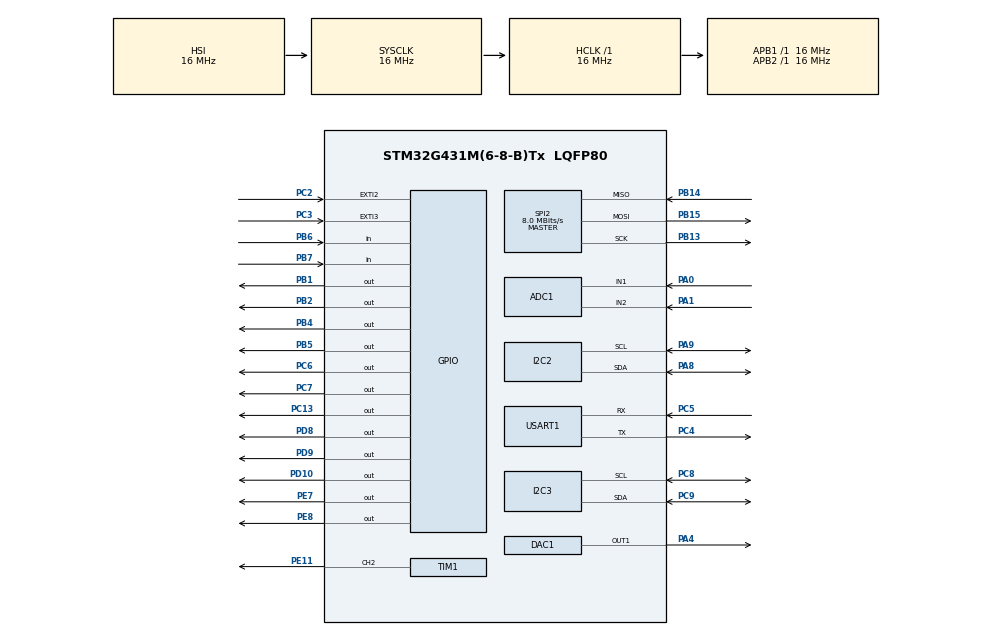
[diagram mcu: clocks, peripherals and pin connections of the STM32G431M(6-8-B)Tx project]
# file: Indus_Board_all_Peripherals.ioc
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ADC1.Channel-0\#ChannelRegularConversion=ADC_CHANNEL_1
ADC1.NbrOfConversionFlag=1
ADC1.OffsetNumber-0\#ChannelRegularConversion=ADC_OFFSET_NONE
ADC1.Rank-0\#ChannelRegularConversion=1
ADC1.SamplingTime-0\#ChannelRegularConversion=ADC_SAMPLETIME_2CYCLES_5
ADC1.master=1
Mcu.Family=STM32G4
Mcu.Name=STM32G431M(6-8-B)Tx
Mcu.Package=LQFP80
NVIC.EXTI2_IRQn=true\:0\:0\:false\:false\:true\:true\:true\:true
NVIC.EXTI3_IRQn=true\:0\:0\:false\:false\:true\:true\:true\:true
NVIC.PriorityGroup=NVIC_PRIORITYGROUP_4
NVIC.USART1_IRQn=true\:0\:0\:false\:false\:true\:true\:true\:true
PA0.Mode=IN1-Single-Ended
PA0.Signal=ADC1_IN1
PA1.Mode=IN2-Single-Ended
PA1.Signal=ADC1_IN2
PA13.Mode=JTAG_4_pins
PA13.Signal=SYS_JTMS-SWDIO
PA14.Mode=JTAG_4_pins
PA14.Signal=SYS_JTCK-SWCLK
PA15.Mode=JTAG_4_pins
PA15.Signal=SYS_JTDI
PA4.Signal=COMP_DAC11_group
PA8.Mode=I2C
PA8.Signal=I2C2_SDA
PA9.Mode=I2C
PA9.Signal=I2C2_SCL
PB1.Signal=GPIO_Output
PB13.Mode=Full_Duplex_Master
PB13.Signal=SPI2_SCK
PB14.Mode=Full_Duplex_Master
PB14.Signal=SPI2_MISO
PB15.Mode=Full_Duplex_Master
PB15.Signal=SPI2_MOSI
PB2.Signal=GPIO_Output
PB3.Mode=JTAG_4_pins
PB3.Signal=SYS_JTDO-SWO
PB4.Signal=GPIO_Output
PB5.Signal=GPIO_Output
PB6.Signal=GPIO_Input
PB7.Signal=GPIO_Input
PC13.Signal=GPIO_Output
PC2.Signal=GPXTI2
PC3.Signal=GPXTI3
PC4.Mode=Asynchronous
PC4.Signal=USART1_TX
PC5.Mode=Asynchronous
PC5.Signal=USART1_RX
PC6.Signal=GPIO_Output
PC7.Signal=GPIO_Output
PC8.Mode=I2C
PC8.Signal=I2C3_SCL
PC9.Mode=I2C
PC9.Signal=I2C3_SDA
PD10.Signal=GPIO_Output
PD8.Signal=GPIO_Output
PD9.Signal=GPIO_Output
PE11.Signal=S_TIM1_CH2
PE7.Signal=GPIO_Output
PE8.Signal=GPIO_Output
ProjectManager.HeapSize=0x200
ProjectManager.StackSize=0x400
ProjectManager.TargetToolchain=STM32CubeIDE
RCC.AHBFreq_Value=16000000
RCC.APB1Freq_Value=16000000
RCC.APB1TimFreq_Value=16000000
RCC.APB2Freq_Value=16000000
RCC.APB2TimFreq_Value=16000000
RCC.CortexFreq_Value=16000000
RCC.EXTERNAL_CLOCK_VALUE=12288000
RCC.HCLKFreq_Value=16000000
RCC.HSE_VALUE=8000000
RCC.HSI48_VALUE=48000000
RCC.HSI_VALUE=16000000
RCC.LSE_VALUE=32768
RCC.SYSCLKFreq_VALUE=16000000
RCC.USBFreq_Value=64000000
RCC.VCOOutputFreq_Value=128000000
SH.COMP_DAC11_group.0=DAC1_OUT1,DAC_OUT1
SH.S_TIM1_CH2.0=TIM1_CH2,PWM Generation2 CH2
SPI2.CalculateBaudRate=8.0 MBits/s
SPI2.DataSize=SPI_DATASIZE_8BIT
SPI2.Direction=SPI_DIRECTION_2LINES
SPI2.Mode=SPI_MODE_MASTER
SPI2.VirtualType=VM_MASTER
TIM1.Channel-PWM\ Generation2\ CH2=TIM_CHANNEL_2
TIM16.Channel=TIM_CHANNEL_1
TIM16.OCMode_1=TIM_OCMODE_TOGGLE
TIM16.PeriodNoDither=999
TIM16.Prescaler=37000
USART1.VirtualMode-Asynchronous=VM_ASYNC
VP_SYS_VS_DBSignals.Mode=DisableDeadBatterySignals
VP_TIM16_VS_ClockSourceINT.Mode=Enable_Timer
VP_TIM16_VS_no_output1.Mode=Output Compare1 No Output
VP_TIM1_VS_ClockSourceINT.Mode=Internal
board=custom

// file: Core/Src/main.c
/* USER CODE BEGIN Header */
/**
  ******************************************************************************
  * @file           : main.c
  * @brief          : Main program body
  ******************************************************************************
  * @attention
  *
  * Copyright (c) 2023 STMicroelectronics.
  * All rights reserved.
  *
  * This software is licensed under terms that can be found in the LICENSE file
  * in the root directory of this software component.
  * If no LICENSE file comes with this software, it is provided AS-IS.
  *
  ******************************************************************************
  */
/* USER CODE END Header */
#include "main.h"
#include <stdio.h>
#include <string.h>

#define I2C_ADDR 0x27 // I2C address of the PCF8574
#define RS_BIT 0 // Register select bit
#define EN_BIT 2 // Enable bit
#define BL_BIT 3 // Backlight bit
#define D4_BIT 4 // Data 4 bit
#define D5_BIT 5 // Data 5 bit
#define D6_BIT 6 // Data 6 bit
#define D7_BIT 7 // Data 7 bit

#define LCD_ROWS 2 // Number of rows on the LCD
#define LCD_COLS 16 // Number of columns on the LCD

uint8_t backlight_state = 1;

ADC_HandleTypeDef hadc1;

DAC_HandleTypeDef hdac1;

I2C_HandleTypeDef hi2c2;
I2C_HandleTypeDef hi2c3;

SPI_HandleTypeDef hspi2;

TIM_HandleTypeDef htim1;
TIM_HandleTypeDef htim16;

UART_HandleTypeDef huart1;

void SystemClock_Config(void);
static void MX_GPIO_Init(void);
static void MX_ADC1_Init(void);
static void MX_DAC1_Init(void);
static void MX_I2C2_Init(void);
static void MX_SPI2_Init(void);
static void MX_TIM1_Init(void);
static void MX_TIM16_Init(void);
static void MX_USART1_UART_Init(void);
static void MX_I2C3_Init(void);

/* USER CODE BEGIN 0 */

void lcd_write_nibble(uint8_t nibble, uint8_t rs);
void lcd_send_cmd(uint8_t cmd);
void lcd_send_data(uint8_t data);
void lcd_init();
void lcd_write_string(char *str);
void lcd_set_cursor(uint8_t row, uint8_t column);
void lcd_clear(void);
void lcd_backlight(uint8_t state);

/* USER CODE END 0 */
uint16_t temp = 0;
uint16_t humd= 0;
uint16_t TTemp = 27;
uint16_t THumd = 50;

uint16_t B1 = 0;
uint16_t B2 = 0;

void getinput(){
	char temp1[10];
	char humd1[10];

	if(HAL_GPIO_ReadPin(GPIOB, GPIO_PIN_6) != GPIO_PIN_SET){
		HAL_ADC_Start(&hadc1);
		HAL_ADC_PollForConversion(&hadc1,1000);
		TTemp = (HAL_ADC_GetValue(&hadc1) / 160) + 16;
		sprintf(temp1, "%d", TTemp);

		lcd_clear();
		lcd_set_cursor(0, 0);
		lcd_write_string("SET Temperature");
		lcd_set_cursor(1, 0);
		lcd_write_string(temp1);

	}

	if(HAL_GPIO_ReadPin(GPIOB, GPIO_PIN_7) != GPIO_PIN_SET){
			HAL_ADC_Start(&hadc1);
			HAL_ADC_PollForConversion(&hadc1,1000);
			THumd = HAL_ADC_GetValue(&hadc1) / 40;
			sprintf(humd1, "%d", THumd);

			lcd_clear();
			lcd_set_cursor(0, 0);
			lcd_write_string("SET Humidity");
			lcd_set_cursor(1, 0);
			lcd_write_string(humd1);
		}

	GetDeviceIDSht21();
	GetSlaveAcknowledgment();
	GetTempratureSht21();
	GetHumidyShtc3();
	temp = Read_Temprature() / 1000;
	humd = Read_Humidity() / 1000;

	sprintf(temp1, "%d", temp);
	sprintf(humd1, "%d", humd);

	lcd_clear();
	lcd_set_cursor(0, 0);
	lcd_write_string("Temperature ");
	lcd_write_string(temp1);
	lcd_set_cursor(1, 0);
	lcd_write_string("Humidity ");
	lcd_write_string(humd1);

}

void accuate(){
	if(TTemp < temp){
		HAL_GPIO_WritePin(GPIOE, GPIO_PIN_7, 0);
		HAL_GPIO_WritePin(GPIOE, GPIO_PIN_8, 1);
		HAL_GPIO_WritePin(GPIOB, GPIO_PIN_4, 0);
	}
	if(TTemp > temp){
		HAL_GPIO_WritePin(GPIOE, GPIO_PIN_7, 1);
		HAL_GPIO_WritePin(GPIOE, GPIO_PIN_8, 0);
		HAL_GPIO_WritePin(GPIOB, GPIO_PIN_4, 0);
	}
	if(TTemp == temp)
	{
		HAL_GPIO_WritePin(GPIOE, GPIO_PIN_7, 1);
		HAL_GPIO_WritePin(GPIOE, GPIO_PIN_8, 1);
		HAL_GPIO_WritePin(GPIOB, GPIO_PIN_4, 1);

	}

	if(THumd < humd){
		HAL_GPIO_WritePin(GPIOB, GPIO_PIN_5, 1);
	}
	if(THumd > humd ){
		HAL_GPIO_WritePin(GPIOB, GPIO_PIN_5, 0);
	}
}
int main(void)
{

  /* MCU Configuration--------------------------------------------------------*/

  /* Reset of all peripherals, Initializes the Flash interface and the Systick. */
  HAL_Init();

  /* Configure the system clock */
  SystemClock_Config();

  /* Initialize all configured peripherals */
  MX_GPIO_Init();
  MX_ADC1_Init();
  MX_DAC1_Init();
  MX_I2C2_Init();
  MX_SPI2_Init();
  MX_TIM1_Init();
  MX_TIM16_Init();
  MX_USART1_UART_Init();
  MX_I2C3_Init();

  /* Infinite loop */
  /* USER CODE BEGIN WHILE */
  HAL_GPIO_WritePin(GPIOE, GPIO_PIN_7, 1);
  HAL_GPIO_WritePin(GPIOE, GPIO_PIN_8, 1);
  HAL_GPIO_WritePin(GPIOB, GPIO_PIN_4, 1);
  HAL_GPIO_WritePin(GPIOB, GPIO_PIN_5, 1);

  lcd_init();
  lcd_backlight(1); // Turn on backlight
  uint16_t Data = 10;
  char *text = "EmbeddedThere";
  char int_to_str[10];
  sprintf(int_to_str, "%d", Data);

  lcd_clear();
  lcd_set_cursor(0, 0);
  lcd_write_string(text);
  lcd_write_string(int_to_str);

  while (1){
    /* USER CODE END WHILE */
	  getinput();
	  accuate();
  }
}

void lcd_write_nibble(uint8_t nibble, uint8_t rs) {
  uint8_t data = nibble << D4_BIT;
  data |= rs << RS_BIT;
  data |= backlight_state << BL_BIT; // Include backlight state in data
  data |= 1 << EN_BIT;
  HAL_I2C_Master_Transmit(&hi2c3, I2C_ADDR << 1, &data, 1, 100);
  HAL_Delay(1);
  data &= ~(1 << EN_BIT);
  HAL_I2C_Master_Transmit(&hi2c3, I2C_ADDR << 1, &data, 1, 100);
}

void lcd_send_cmd(uint8_t cmd) {
  uint8_t upper_nibble = cmd >> 4;
  uint8_t lower_nibble = cmd & 0x0F;
  lcd_write_nibble(upper_nibble, 0);
  lcd_write_nibble(lower_nibble, 0);
  if (cmd == 0x01 || cmd == 0x02) {
    HAL_Delay(2);
  }
}

void lcd_send_data(uint8_t data) {
  uint8_t upper_nibble = data >> 4;
  uint8_t lower_nibble = data & 0x0F;
  lcd_write_nibble(upper_nibble, 1);
  lcd_write_nibble(lower_nibble, 1);
}

void lcd_init() {
  HAL_Delay(50);
  lcd_write_nibble(0x03, 0);
  HAL_Delay(5);
  lcd_write_nibble(0x03, 0);
  HAL_Delay(1);
  lcd_write_nibble(0x03, 0);
  HAL_Delay(1);
  lcd_write_nibble(0x02, 0);
  lcd_send_cmd(0x28);
  lcd_send_cmd(0x0C);
  lcd_send_cmd(0x06);
  lcd_send_cmd(0x01);
  HAL_Delay(2);
}

void lcd_write_string(char *str) {
  while (*str) {
    lcd_send_data(*str++);
  }
}

void lcd_set_cursor(uint8_t row, uint8_t column) {
    uint8_t address;
    switch (row) {
        case 0:
            address = 0x00;
            break;
        case 1:
            address = 0x40;
            break;
        default:
            address = 0x00;
    }
    address += column;
    lcd_send_cmd(0x80 | address);
}

void lcd_clear(void) {
	lcd_send_cmd(0x01);
    HAL_Delay(2);
}

void lcd_backlight(uint8_t state) {
  if (state) {
    backlight_state = 1;
  } else {
    backlight_state = 0;
  }
}

void SystemClock_Config(void)
{
  RCC_OscInitTypeDef RCC_OscInitStruct = {0};
  RCC_ClkInitTypeDef RCC_ClkInitStruct = {0};

  /** Configure the main internal regulator output voltage
  */
  HAL_PWREx_ControlVoltageScaling(PWR_REGULATOR_VOLTAGE_SCALE1);

  /** Initializes the RCC Oscillators according to the specified parameters
  * in the RCC_OscInitTypeDef structure.
  */
  RCC_OscInitStruct.OscillatorType = RCC_OSCILLATORTYPE_HSI;
  RCC_OscInitStruct.HSIState = RCC_HSI_ON;
  RCC_OscInitStruct.HSICalibrationValue = RCC_HSICALIBRATION_DEFAULT;
  RCC_OscInitStruct.PLL.PLLState = RCC_PLL_NONE;
  if (HAL_RCC_OscConfig(&RCC_OscInitStruct) != HAL_OK)
  {
    Error_Handler();
  }

  /** Initializes the CPU, AHB and APB buses clocks
  */
  RCC_ClkInitStruct.ClockType = RCC_CLOCKTYPE_HCLK|RCC_CLOCKTYPE_SYSCLK
                              |RCC_CLOCKTYPE_PCLK1|RCC_CLOCKTYPE_PCLK2;
  RCC_ClkInitStruct.SYSCLKSource = RCC_SYSCLKSOURCE_HSI;
  RCC_ClkInitStruct.AHBCLKDivider = RCC_SYSCLK_DIV1;
  RCC_ClkInitStruct.APB1CLKDivider = RCC_HCLK_DIV1;
  RCC_ClkInitStruct.APB2CLKDivider = RCC_HCLK_DIV1;

  if (HAL_RCC_ClockConfig(&RCC_ClkInitStruct, FLASH_LATENCY_0) != HAL_OK)
  {
    Error_Handler();
  }
}

static void MX_ADC1_Init(void)
{

  ADC_MultiModeTypeDef multimode = {0};
  ADC_ChannelConfTypeDef sConfig = {0};

  /** Common config
  */
  hadc1.Instance = ADC1;
  hadc1.Init.ClockPrescaler = ADC_CLOCK_SYNC_PCLK_DIV2;
  hadc1.Init.Resolution = ADC_RESOLUTION_12B;
  hadc1.Init.DataAlign = ADC_DATAALIGN_RIGHT;
  hadc1.Init.GainCompensation = 0;
  hadc1.Init.ScanConvMode = ADC_SCAN_DISABLE;
  hadc1.Init.EOCSelection = ADC_EOC_SINGLE_CONV;
  hadc1.Init.LowPowerAutoWait = DISABLE;
  hadc1.Init.ContinuousConvMode = DISABLE;
  hadc1.Init.NbrOfConversion = 1;
  hadc1.Init.DiscontinuousConvMode = DISABLE;
  hadc1.Init.ExternalTrigConv = ADC_SOFTWARE_START;
  hadc1.Init.ExternalTrigConvEdge = ADC_EXTERNALTRIGCONVEDGE_NONE;
  hadc1.Init.DMAContinuousRequests = DISABLE;
  hadc1.Init.Overrun = ADC_OVR_DATA_PRESERVED;
  hadc1.Init.OversamplingMode = DISABLE;
  if (HAL_ADC_Init(&hadc1) != HAL_OK)
  {
    Error_Handler();
  }

  /** Configure the ADC multi-mode
  */
  multimode.Mode = ADC_MODE_INDEPENDENT;
  if (HAL_ADCEx_MultiModeConfigChannel(&hadc1, &multimode) != HAL_OK)
  {
    Error_Handler();
  }

  /** Configure Regular Channel
  */
  sConfig.Channel = ADC_CHANNEL_1;
  sConfig.Rank = ADC_REGULAR_RANK_1;
  sConfig.SamplingTime = ADC_SAMPLETIME_2CYCLES_5;
  sConfig.SingleDiff = ADC_SINGLE_ENDED;
  sConfig.OffsetNumber = ADC_OFFSET_NONE;
  sConfig.Offset = 0;
  if (HAL_ADC_ConfigChannel(&hadc1, &sConfig) != HAL_OK)
  {
    Error_Handler();
  }

}

static void MX_DAC1_Init(void)
{

  DAC_ChannelConfTypeDef sConfig = {0};

  /** DAC Initialization
  */
  hdac1.Instance = DAC1;
  if (HAL_DAC_Init(&hdac1) != HAL_OK)
  {
    Error_Handler();
  }

  /** DAC channel OUT1 config
  */
  sConfig.DAC_HighFrequency = DAC_HIGH_FREQUENCY_INTERFACE_MODE_AUTOMATIC;
  sConfig.DAC_DMADoubleDataMode = DISABLE;
  sConfig.DAC_SignedFormat = DISABLE;
  sConfig.DAC_SampleAndHold = DAC_SAMPLEANDHOLD_DISABLE;
  sConfig.DAC_Trigger = DAC_TRIGGER_NONE;
  sConfig.DAC_Trigger2 = DAC_TRIGGER_NONE;
  sConfig.DAC_OutputBuffer = DAC_OUTPUTBUFFER_ENABLE;
  sConfig.DAC_ConnectOnChipPeripheral = DAC_CHIPCONNECT_EXTERNAL;
  sConfig.DAC_UserTrimming = DAC_TRIMMING_FACTORY;
  if (HAL_DAC_ConfigChannel(&hdac1, &sConfig, DAC_CHANNEL_1) != HAL_OK)
  {
    Error_Handler();
  }

}

static void MX_I2C2_Init(void)
{

  hi2c2.Instance = I2C2;
  hi2c2.Init.Timing = 0x00303D5B;
  hi2c2.Init.OwnAddress1 = 0;
  hi2c2.Init.AddressingMode = I2C_ADDRESSINGMODE_7BIT;
  hi2c2.Init.DualAddressMode = I2C_DUALADDRESS_DISABLE;
  hi2c2.Init.OwnAddress2 = 0;
  hi2c2.Init.OwnAddress2Masks = I2C_OA2_NOMASK;
  hi2c2.Init.GeneralCallMode = I2C_GENERALCALL_DISABLE;
  hi2c2.Init.NoStretchMode = I2C_NOSTRETCH_DISABLE;
  if (HAL_I2C_Init(&hi2c2) != HAL_OK)
  {
    Error_Handler();
  }

  /** Configure Analogue filter
  */
  if (HAL_I2CEx_ConfigAnalogFilter(&hi2c2, I2C_ANALOGFILTER_ENABLE) != HAL_OK)
  {
    Error_Handler();
  }

  /** Configure Digital filter
  */
  if (HAL_I2CEx_ConfigDigitalFilter(&hi2c2, 0) != HAL_OK)
  {
    Error_Handler();
  }

}

static void MX_I2C3_Init(void)
{

  hi2c3.Instance = I2C3;
  hi2c3.Init.Timing = 0x00303D5B;
  hi2c3.Init.OwnAddress1 = 0;
  hi2c3.Init.AddressingMode = I2C_ADDRESSINGMODE_7BIT;
  hi2c3.Init.DualAddressMode = I2C_DUALADDRESS_DISABLE;
  hi2c3.Init.OwnAddress2 = 0;
  hi2c3.Init.OwnAddress2Masks = I2C_OA2_NOMASK;
  hi2c3.Init.GeneralCallMode = I2C_GENERALCALL_DISABLE;
  hi2c3.Init.NoStretchMode = I2C_NOSTRETCH_DISABLE;
  if (HAL_I2C_Init(&hi2c3) != HAL_OK)
  {
    Error_Handler();
  }

  /** Configure Analogue filter
  */
  if (HAL_I2CEx_ConfigAnalogFilter(&hi2c3, I2C_ANALOGFILTER_ENABLE) != HAL_OK)
  {
    Error_Handler();
  }

  /** Configure Digital filter
  */
  if (HAL_I2CEx_ConfigDigitalFilter(&hi2c3, 0) != HAL_OK)
  {
    Error_Handler();
  }

}

static void MX_SPI2_Init(void)
{

  /* SPI2 parameter configuration*/
  hspi2.Instance = SPI2;
  hspi2.Init.Mode = SPI_MODE_MASTER;
  hspi2.Init.Direction = SPI_DIRECTION_2LINES;
  hspi2.Init.DataSize = SPI_DATASIZE_8BIT;
  hspi2.Init.CLKPolarity = SPI_POLARITY_LOW;
  hspi2.Init.CLKPhase = SPI_PHASE_1EDGE;
  hspi2.Init.NSS = SPI_NSS_SOFT;
  hspi2.Init.BaudRatePrescaler = SPI_BAUDRATEPRESCALER_2;
  hspi2.Init.FirstBit = SPI_FIRSTBIT_MSB;
  hspi2.Init.TIMode = SPI_TIMODE_DISABLE;
  hspi2.Init.CRCCalculation = SPI_CRCCALCULATION_DISABLE;
  hspi2.Init.CRCPolynomial = 7;
  hspi2.Init.CRCLength = SPI_CRC_LENGTH_DATASIZE;
  hspi2.Init.NSSPMode = SPI_NSS_PULSE_ENABLE;
  if (HAL_SPI_Init(&hspi2) != HAL_OK)
  {
    Error_Handler();
  }

}

static void MX_TIM1_Init(void)
{

  TIM_ClockConfigTypeDef sClockSourceConfig = {0};
  TIM_MasterConfigTypeDef sMasterConfig = {0};
  TIM_OC_InitTypeDef sConfigOC = {0};
  TIM_BreakDeadTimeConfigTypeDef sBreakDeadTimeConfig = {0};

  htim1.Instance = TIM1;
  htim1.Init.Prescaler = 0;
  htim1.Init.CounterMode = TIM_COUNTERMODE_UP;
  htim1.Init.Period = 65535;
  htim1.Init.ClockDivision = TIM_CLOCKDIVISION_DIV1;
  htim1.Init.RepetitionCounter = 0;
  htim1.Init.AutoReloadPreload = TIM_AUTORELOAD_PRELOAD_DISABLE;
  if (HAL_TIM_Base_Init(&htim1) != HAL_OK)
  {
    Error_Handler();
  }
  sClockSourceConfig.ClockSource = TIM_CLOCKSOURCE_INTERNAL;
  if (HAL_TIM_ConfigClockSource(&htim1, &sClockSourceConfig) != HAL_OK)
  {
    Error_Handler();
  }
  if (HAL_TIM_PWM_Init(&htim1) != HAL_OK)
  {
    Error_Handler();
  }
  sMasterConfig.MasterOutputTrigger = TIM_TRGO_RESET;
  sMasterConfig.MasterOutputTrigger2 = TIM_TRGO2_RESET;
  sMasterConfig.MasterSlaveMode = TIM_MASTERSLAVEMODE_DISABLE;
  if (HAL_TIMEx_MasterConfigSynchronization(&htim1, &sMasterConfig) != HAL_OK)
  {
    Error_Handler();
  }
  sConfigOC.OCMode = TIM_OCMODE_PWM1;
  sConfigOC.Pulse = 0;
  sConfigOC.OCPolarity = TIM_OCPOLARITY_HIGH;
  sConfigOC.OCNPolarity = TIM_OCNPOLARITY_HIGH;
  sConfigOC.OCFastMode = TIM_OCFAST_DISABLE;
  sConfigOC.OCIdleState = TIM_OCIDLESTATE_RESET;
  sConfigOC.OCNIdleState = TIM_OCNIDLESTATE_RESET;
  if (HAL_TIM_PWM_ConfigChannel(&htim1, &sConfigOC, TIM_CHANNEL_2) != HAL_OK)
  {
    Error_Handler();
  }
  sBreakDeadTimeConfig.OffStateRunMode = TIM_OSSR_DISABLE;
  sBreakDeadTimeConfig.OffStateIDLEMode = TIM_OSSI_DISABLE;
  sBreakDeadTimeConfig.LockLevel = TIM_LOCKLEVEL_OFF;
  sBreakDeadTimeConfig.DeadTime = 0;
  sBreakDeadTimeConfig.BreakState = TIM_BREAK_DISABLE;
  sBreakDeadTimeConfig.BreakPolarity = TIM_BREAKPOLARITY_HIGH;
  sBreakDeadTimeConfig.BreakFilter = 0;
  sBreakDeadTimeConfig.BreakAFMode = TIM_BREAK_AFMODE_INPUT;
  sBreakDeadTimeConfig.Break2State = TIM_BREAK2_DISABLE;
  sBreakDeadTimeConfig.Break2Polarity = TIM_BREAK2POLARITY_HIGH;
  sBreakDeadTimeConfig.Break2Filter = 0;
  sBreakDeadTimeConfig.Break2AFMode = TIM_BREAK_AFMODE_INPUT;
  sBreakDeadTimeConfig.AutomaticOutput = TIM_AUTOMATICOUTPUT_DISABLE;
  if (HAL_TIMEx_ConfigBreakDeadTime(&htim1, &sBreakDeadTimeConfig) != HAL_OK)
  {
    Error_Handler();
  }
  HAL_TIM_MspPostInit(&htim1);

}

static void MX_TIM16_Init(void)
{

  TIM_OC_InitTypeDef sConfigOC = {0};
  TIM_BreakDeadTimeConfigTypeDef sBreakDeadTimeConfig = {0};

  htim16.Instance = TIM16;
  htim16.Init.Prescaler = 37000;
  htim16.Init.CounterMode = TIM_COUNTERMODE_UP;
  htim16.Init.Period = 999;
  htim16.Init.ClockDivision = TIM_CLOCKDIVISION_DIV1;
  htim16.Init.RepetitionCounter = 0;
  htim16.Init.AutoReloadPreload = TIM_AUTORELOAD_PRELOAD_DISABLE;
  if (HAL_TIM_Base_Init(&htim16) != HAL_OK)
  {
    Error_Handler();
  }
  if (HAL_TIM_OC_Init(&htim16) != HAL_OK)
  {
    Error_Handler();
  }
  sConfigOC.OCMode = TIM_OCMODE_TOGGLE;
  sConfigOC.Pulse = 0;
  sConfigOC.OCPolarity = TIM_OCPOLARITY_HIGH;
  sConfigOC.OCNPolarity = TIM_OCNPOLARITY_HIGH;
  sConfigOC.OCFastMode = TIM_OCFAST_DISABLE;
  sConfigOC.OCIdleState = TIM_OCIDLESTATE_RESET;
  sConfigOC.OCNIdleState = TIM_OCNIDLESTATE_RESET;
  if (HAL_TIM_OC_ConfigChannel(&htim16, &sConfigOC, TIM_CHANNEL_1) != HAL_OK)
  {
    Error_Handler();
  }
  sBreakDeadTimeConfig.OffStateRunMode = TIM_OSSR_DISABLE;
  sBreakDeadTimeConfig.OffStateIDLEMode = TIM_OSSI_DISABLE;
  sBreakDeadTimeConfig.LockLevel = TIM_LOCKLEVEL_OFF;
  sBreakDeadTimeConfig.DeadTime = 0;
  sBreakDeadTimeConfig.BreakState = TIM_BREAK_DISABLE;
  sBreakDeadTimeConfig.BreakPolarity = TIM_BREAKPOLARITY_HIGH;
  sBreakDeadTimeConfig.BreakFilter = 0;
  sBreakDeadTimeConfig.AutomaticOutput = TIM_AUTOMATICOUTPUT_DISABLE;
  if (HAL_TIMEx_ConfigBreakDeadTime(&htim16, &sBreakDeadTimeConfig) != HAL_OK)
  {
    Error_Handler();
  }

}

static void MX_USART1_UART_Init(void)
{

  huart1.Instance = USART1;
  huart1.Init.BaudRate = 115200;
  huart1.Init.WordLength = UART_WORDLENGTH_8B;
  huart1.Init.StopBits = UART_STOPBITS_1;
  huart1.Init.Parity = UART_PARITY_NONE;
  huart1.Init.Mode = UART_MODE_TX_RX;
  huart1.Init.HwFlowCtl = UART_HWCONTROL_NONE;
  huart1.Init.OverSampling = UART_OVERSAMPLING_16;
  huart1.Init.OneBitSampling = UART_ONE_BIT_SAMPLE_DISABLE;
  huart1.Init.ClockPrescaler = UART_PRESCALER_DIV1;
  huart1.AdvancedInit.AdvFeatureInit = UART_ADVFEATURE_NO_INIT;
  if (HAL_UART_Init(&huart1) != HAL_OK)
  {
    Error_Handler();
  }
  if (HAL_UARTEx_SetTxFifoThreshold(&huart1, UART_TXFIFO_THRESHOLD_1_8) != HAL_OK)
  {
    Error_Handler();
  }
  if (HAL_UARTEx_SetRxFifoThreshold(&huart1, UART_RXFIFO_THRESHOLD_1_8) != HAL_OK)
  {
    Error_Handler();
  }
  if (HAL_UARTEx_DisableFifoMode(&huart1) != HAL_OK)
  {
    Error_Handler();
  }

}

static void MX_GPIO_Init(void)
{
  GPIO_InitTypeDef GPIO_InitStruct = {0};

  /* GPIO Ports Clock Enable */
  __HAL_RCC_GPIOC_CLK_ENABLE();
  __HAL_RCC_GPIOA_CLK_ENABLE();
  __HAL_RCC_GPIOB_CLK_ENABLE();
  __HAL_RCC_GPIOE_CLK_ENABLE();
  __HAL_RCC_GPIOD_CLK_ENABLE();

  /*Configure GPIO pin Output Level */
  HAL_GPIO_WritePin(GPIOC, GPIO_PIN_13|GPIO_PIN_6|GPIO_PIN_7, GPIO_PIN_RESET);

  /*Configure GPIO pin Output Level */
  HAL_GPIO_WritePin(GPIOB, GPIO_PIN_1|GPIO_PIN_2|GPIO_PIN_4|GPIO_PIN_5, GPIO_PIN_RESET);

  /*Configure GPIO pin Output Level */
  HAL_GPIO_WritePin(GPIOE, GPIO_PIN_7|GPIO_PIN_8, GPIO_PIN_RESET);

  /*Configure GPIO pin Output Level */
  HAL_GPIO_WritePin(GPIOD, GPIO_PIN_8|GPIO_PIN_9|GPIO_PIN_10, GPIO_PIN_RESET);

  /*Configure GPIO pins : PC13 PC6 PC7 */
  GPIO_InitStruct.Pin = GPIO_PIN_13|GPIO_PIN_6|GPIO_PIN_7;
  GPIO_InitStruct.Mode = GPIO_MODE_OUTPUT_PP;
  GPIO_InitStruct.Pull = GPIO_NOPULL;
  GPIO_InitStruct.Speed = GPIO_SPEED_FREQ_LOW;
  HAL_GPIO_Init(GPIOC, &GPIO_InitStruct);

  /*Configure GPIO pins : PC2 PC3 */
  GPIO_InitStruct.Pin = GPIO_PIN_2|GPIO_PIN_3;
  GPIO_InitStruct.Mode = GPIO_MODE_IT_RISING;
  GPIO_InitStruct.Pull = GPIO_NOPULL;
  HAL_GPIO_Init(GPIOC, &GPIO_InitStruct);

  /*Configure GPIO pins : PB1 PB2 PB4 PB5 */
  GPIO_InitStruct.Pin = GPIO_PIN_1|GPIO_PIN_2|GPIO_PIN_4|GPIO_PIN_5;
  GPIO_InitStruct.Mode = GPIO_MODE_OUTPUT_PP;
  GPIO_InitStruct.Pull = GPIO_NOPULL;
  GPIO_InitStruct.Speed = GPIO_SPEED_FREQ_LOW;
  HAL_GPIO_Init(GPIOB, &GPIO_InitStruct);

  /*Configure GPIO pins : PE7 PE8 */
  GPIO_InitStruct.Pin = GPIO_PIN_7|GPIO_PIN_8;
  GPIO_InitStruct.Mode = GPIO_MODE_OUTPUT_PP;
  GPIO_InitStruct.Pull = GPIO_NOPULL;
  GPIO_InitStruct.Speed = GPIO_SPEED_FREQ_LOW;
  HAL_GPIO_Init(GPIOE, &GPIO_InitStruct);

  /*Configure GPIO pins : PD8 PD9 PD10 */
  GPIO_InitStruct.Pin = GPIO_PIN_8|GPIO_PIN_9|GPIO_PIN_10;
  GPIO_InitStruct.Mode = GPIO_MODE_OUTPUT_PP;
  GPIO_InitStruct.Pull = GPIO_NOPULL;
  GPIO_InitStruct.Speed = GPIO_SPEED_FREQ_LOW;
  HAL_GPIO_Init(GPIOD, &GPIO_InitStruct);

  /*Configure GPIO pins : PB6 PB7 */
  GPIO_InitStruct.Pin = GPIO_PIN_6|GPIO_PIN_7;
  GPIO_InitStruct.Mode = GPIO_MODE_INPUT;
  GPIO_InitStruct.Pull = GPIO_NOPULL;
  HAL_GPIO_Init(GPIOB, &GPIO_InitStruct);

  /* EXTI interrupt init*/
  HAL_NVIC_SetPriority(EXTI2_IRQn, 0, 0);
  HAL_NVIC_EnableIRQ(EXTI2_IRQn);

  HAL_NVIC_SetPriority(EXTI3_IRQn, 0, 0);
  HAL_NVIC_EnableIRQ(EXTI3_IRQn);

}

void Error_Handler(void)
{
  __disable_irq();
  while (1)
  {
  }
}
